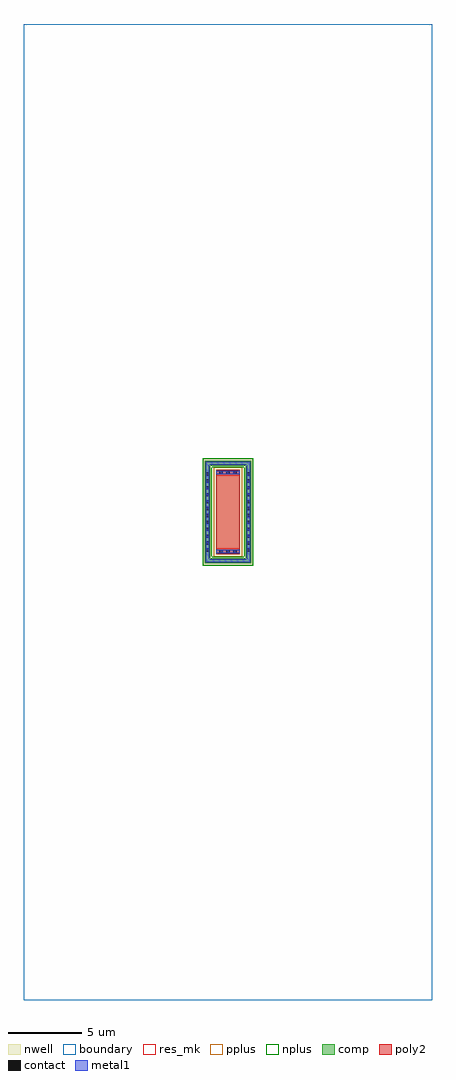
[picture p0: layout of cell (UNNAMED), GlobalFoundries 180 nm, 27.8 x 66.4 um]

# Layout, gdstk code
import gdstk
lib = gdstk.Library(unit=1e-6, precision=1e-09)
def R(c, l, rs):  # rectangles x0, y0, x1, y1
    for r in rs: c.add(gdstk.rectangle(r[:2], r[2:], *l))
def A(c, l, x, y, w, h, nx, ny, dx, dy):  # array of equal rectangles
    R(c, l, [(x+i*dx, y+j*dy, x+i*dx+w, y+j*dy+h) for i in range(nx) for j in range(ny)])
boundary = (0, 0)
nwell = (21, 0)
comp = (22, 0)
poly2 = (30, 0)
pplus = (31, 0)
nplus = (32, 0)
contact = (33, 0)
metal1 = (34, 0)
res_mk = (110, 5)

c__unnamed_ = lib.new_cell('(UNNAMED)')
R(c__unnamed_, boundary, [(-13.9,-33.2,13.9,33.2)])
R(c__unnamed_, nwell, [(-1.69,-3.62,1.69,3.62)])
R(c__unnamed_, comp, [(-1.57,-3.5,1.57,-3.14), (-1.57,-3.14,-1.21,3.14), (1.21,-3.14,1.57,3.14), (-1.57,3.14,1.57,3.5)])
R(c__unnamed_, poly2, [(-0.8,-2.86,0.8,2.86)])
R(c__unnamed_, pplus, [(-0.98,-3.04,0.98,3.04)])
R(c__unnamed_, nplus, [(-1.73,-3.66,1.73,-3.03), (-1.73,-3.03,-1.1,3.03), (1.1,-3.03,1.73,3.03), (-1.73,3.03,1.73,3.66)])
A(c__unnamed_, contact, -0.58, -2.79, 0.22, 0.22, 3, 2, 0.47, 5.36)
A(c__unnamed_, contact, -1.5, -2.695, 0.22, 0.22, 1, 12, 0, 0.47)
A(c__unnamed_, contact, 1.28, -2.695, 0.22, 0.22, 1, 12, 0, 0.47)
R(c__unnamed_, metal1, [(-1.505,-3.435,1.505,-3.205), (-1.505,-3.205,-1.275,3.205), (1.275,-3.205,1.505,3.205), (-0.79,-2.795,0.79,-2.565), (-0.79,2.565,0.79,2.795), (-1.505,3.205,1.505,3.435)])
R(c__unnamed_, res_mk, [(-0.8,-2.5,0.8,2.5)])

lib.write_gds('_UNNAMED_.gds')
